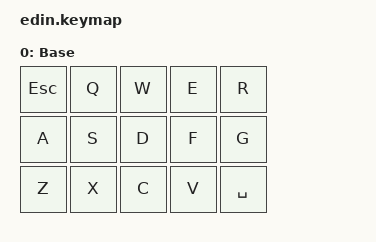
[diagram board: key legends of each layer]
/*
 * Edin Keyboard — Keymap
 *
 * 3 rows × 5 columns = 15 keys
 *
 * Layer 0 (Default): basic alpha/modifier keys.
 * Note: Studio locking is disabled via CONFIG_ZMK_STUDIO_LOCKING=n,
 * so no &studio_unlock key is required to connect to ZMK Studio.
 *
 * Extra reserved layers are available for ZMK Studio to populate
 * at runtime without reflashing.
 */

#include <behaviors.dtsi>
#include <dt-bindings/zmk/keys.h>

/ {
    keymap {
        compatible = "zmk,keymap";

        default_layer {
            display-name = "Base";
            bindings = <
                &kp ESC        &kp Q  &kp W  &kp E  &kp R
                &kp A          &kp S  &kp D  &kp F  &kp G
                &kp Z          &kp X  &kp C  &kp V  &kp SPACE
            >;
        };

        extra1 {
            status = "reserved";
        };

        extra2 {
            status = "reserved";
        };

        extra3 {
            status = "reserved";
        };
    };
};
